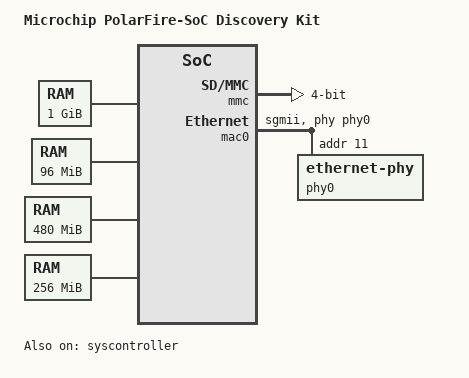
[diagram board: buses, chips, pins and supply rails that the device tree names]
// SPDX-License-Identifier: (GPL-2.0+ OR MIT)
/*
 * Copyright (C) 2024 Microchip Technology Inc.
 * Padmarao Begari <padmarao.begari@microchip.com>
 */

/dts-v1/;

#include "../../../dts/upstream/src/riscv/microchip/mpfs.dtsi"

/* Clock frequency (in Hz) of the rtcclk */
#define RTCCLK_FREQ		   1000000

/ {
	model = "Microchip PolarFire-SoC Discovery Kit";
	compatible = "microchip,mpfs-disco-kit", "microchip,mpfs";

	aliases {
		serial4 = &mmuart4;
		ethernet0 = &mac0;
	};

	chosen {
		stdout-path = "serial4";
	};

	cpus {
		timebase-frequency = <RTCCLK_FREQ>;
	};

	ddr_cached_low: memory@80000000 {
		device_type = "memory";
		reg = <0x0 0x80000000 0x0 0x40000000>;
		label = "kernel";
	};

	ddr_non_cached_low: memory@c4000000 {
		device_type = "memory";
		reg = <0x0 0xc4000000 0x0 0x6000000>;
		label = "non-cached-low";
	};

	ddr_cached_high: memory@1022000000 {
		device_type = "memory";
		reg = <0x10 0x22000000 0x0 0x1e000000>;
		label = "cached-high";
	};

	ddr_non_cached_high: memory@1412000000 {
		device_type = "memory";
		reg = <0x14 0x12000000 0x0 0x10000000>;
		label = "non-cached-high";
	};

	reserved-memory {
		#address-cells = <2>;
		#size-cells = <2>;
		ranges;

		hss: hss-buffer {
			compatible = "shared-dma-pool";
			reg = <0x10 0x3fc00000 0x0 0x200000>;
			no-map;
		};

		dma_non_cached_low: non-cached-low-buffer {
			compatible = "shared-dma-pool";
			size = <0x0 0x4000000>;
			no-map;
			linux,dma-default;
			alloc-ranges = <0x0 0xc4000000 0x0 0x4000000>;
			dma-ranges = <0x0 0xc4000000 0x0 0xc4000000 0x0 0x4000000>;
		};

		dma_non_cached_high: non-cached-high-buffer {
			compatible = "shared-dma-pool";
			size = <0x0 0x10000000>;
			no-map;
			linux,dma-default;
			alloc-ranges = <0x14 0x12000000 0x0 0x10000000>;
			dma-ranges = <0x14 0x12000000 0x14 0x12000000 0x0 0x10000000>;
		};

		fabricbuf0ddrc: buffer@88000000 {
			compatible = "shared-dma-pool";
			reg = <0x0 0x88000000 0x0 0x2000000>;
			no-map;
		};

		fabricbuf1ddrnc: buffer@c8000000 {
			compatible = "shared-dma-pool";
			reg = <0x0 0xc8000000 0x0 0x2000000>;
			no-map;
		};

		fabricbuf2ddrncwcb: buffer@d8000000 {
			compatible = "shared-dma-pool";
			reg = <0x0 0xd8000000 0x0 0x2000000>;
			no-map;
		};

		non_cached: region@84000000 {
			reg = <0x0 0x84000000 0x0 0x4000000>;
			no-map;
		};
	};

	udmabuf0 {
		 compatible = "ikwzm,u-dma-buf";
		 device-name = "udmabuf-ddr-c0";
		 minor-number = <0>;
		 size = <0x0 0x2000000>;
		 memory-region = <&fabricbuf0ddrc>;
		 sync-mode = <3>;
	};

	udmabuf1 {
		 compatible = "ikwzm,u-dma-buf";
		 device-name = "udmabuf-ddr-nc0";
		 minor-number = <1>;
		 size = <0x0 0x2000000>;
		 memory-region = <&fabricbuf1ddrnc>;
		 sync-mode = <3>;
	};

	udmabuf2 {
		 compatible = "ikwzm,u-dma-buf";
		 device-name = "udmabuf-ddr-nc-wcb0";
		 minor-number = <2>;
		 size = <0x0 0x2000000>;
		 memory-region = <&fabricbuf2ddrncwcb>;
		 sync-mode = <3>;
	};
};

&refclk {
	clock-frequency = <125000000>;
};

&mmuart4 {
	status = "okay";
};

&mmc {
	status = "okay";
	bus-width = <4>;
	disable-wp;
	cap-sd-highspeed;
	card-detect-delay = <200>;
	sd-uhs-sdr12;
	sd-uhs-sdr25;
	sd-uhs-sdr50;
	sd-uhs-sdr104;
	cdns,phy-input-delay-legacy = <10>;
	cdns,phy-input-delay-sd-highspeed = <4>;
	cdns,phy-input-delay-sd-uhs-sdr12 = <8>;
	cdns,phy-input-delay-sd-uhs-sdr25 = <4>;
	cdns,phy-input-delay-sd-uhs-sdr50 = <2>;
	cdns,phy-input-delay-sd-uhs-ddr50 = <0>;
};

&mac0 {
	status = "okay";
	phy-mode = "sgmii";
	phy-handle = <&phy0>;
	phy0: ethernet-phy@11 {
		 reg = <11>;
	};
};

&mbox {
	status = "okay";
};

&syscontroller {
	status = "okay";
};
